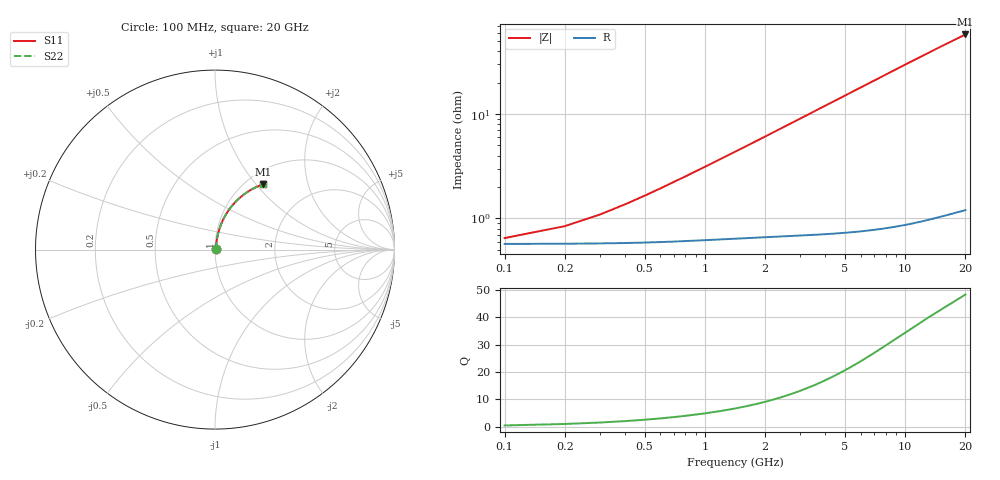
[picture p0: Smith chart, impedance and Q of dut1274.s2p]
! Touchstone file exported from HFSS 2026.1.0
!  File:  C:/ffzhzh/LocalFiles/Ansys_Project_Files/temp_train_TMRDL_1274_1783164213_22436.aedt
!  Generated:  07:24:53 PM Jul  4, 2026
!  Design:  TMRDL
!  Project:  temp_train_TMRDL_1274_1783164213_22436
! Variables:
!  h_bsmrdl = 2um
!  h_ox = 20um
!  h_rdl = 5um
!  h_sub = 80um
!  h_tmrdl = 2.18um
!  h_tsv = 80um
!  h_via = 3um
!  l_bsmrdl = 300um
!  l_sub = 770.74um
!  l_tmrdl = 370.74um
!  m_sub = 200um
!  pitch = 57.09um
!  r_tsv = 6um
!  s_tmrdl = 10um
!  w_bsmrdl = 18um
!  w_sub = 500um
!  w_tmrdl = 10.91um
!  x_tsv_center1 = 376.195um
!  x_tsv_center2 = 694.195um
!  x_tsv_center3 = 1075.845um
!  x_tsv_center4 = 1393.845um
!  x_tsv_center5 = 1775.495um
!  x_tsv_center6 = 2093.495um
# GHz S MA R 50.000000
! Terminal data exported
! Port[1] = TM_RDL1_1_T1
! Port[2] = TM_RDL1_1_T2
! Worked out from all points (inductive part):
!   200 points, 100 MHz to 20 GHz, reference 50 ohm
!   read as one part in series: L = 488 pH near 600 MHz
!   highest Q = 48.2 at 20 GHz (marker M1), where L = 461 pH
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0.1  0.006286 25.6  0.9943 -0.2  0.9943 -0.2  0.006286 25.6
! Gamma 0 0 0 0
! Port Impedance 50 0 50 0
0.3  0.009985 54.4  0.9942 -0.6  0.9942 -0.6  0.009985 54.4
0.4  0.01233 61.3  0.9942 -0.8  0.9942 -0.8  0.01233 61.3
0.5  0.01479 65.8  0.9941 -1.0  0.9941 -1.0  0.01479 65.8
0.6  0.01731 68.9  0.994 -1.2  0.994 -1.2  0.01731 68.9
0.7  0.01986 71.2  0.9939 -1.4  0.9939 -1.4  0.01986 71.2
0.9  0.02501 74.2  0.9936 -1.8  0.9936 -1.8  0.02501 74.2
1.2  0.03277 76.7  0.9932 -2.3  0.9932 -2.3  0.03277 76.7
1.4  0.03795 77.7  0.993 -2.7  0.993 -2.7  0.03795 77.7
1.7  0.04573 78.6  0.9925 -3.3  0.9925 -3.3  0.04573 78.6
2.2  0.05868 79.3  0.9917 -4.2  0.9917 -4.2  0.05868 79.3
2.8  0.07422 79.4  0.9905 -5.4  0.9905 -5.4  0.07422 79.4
3.5  0.09228 79.0  0.9889 -6.7  0.9889 -6.7  0.09228 79.0
4.2  0.1103 78.3  0.9869 -8.0  0.9869 -8.0  0.1103 78.4
5  0.1306 77.4  0.9843 -9.5  0.9843 -9.5  0.1306 77.4
5.9  0.1533 76.1  0.9809 -11.2  0.9809 -11.2  0.1533 76.1
6.8  0.1757 74.7  0.9769 -12.8  0.9769 -12.8  0.1757 74.7
8.3  0.2122 72.3  0.9694 -15.6  0.9694 -15.6  0.2122 72.3
10.1  0.2544 69.3  0.9588 -18.8  0.9588 -18.8  0.2544 69.3
13.4  0.3269 63.9  0.9359 -24.5  0.9359 -24.5  0.3269 63.9
16.7  0.3924 58.7  0.9099 -29.9  0.9099 -29.9  0.3924 58.7
20  0.4506 53.7  0.8821 -34.9  0.8821 -34.9  0.4506 53.8
